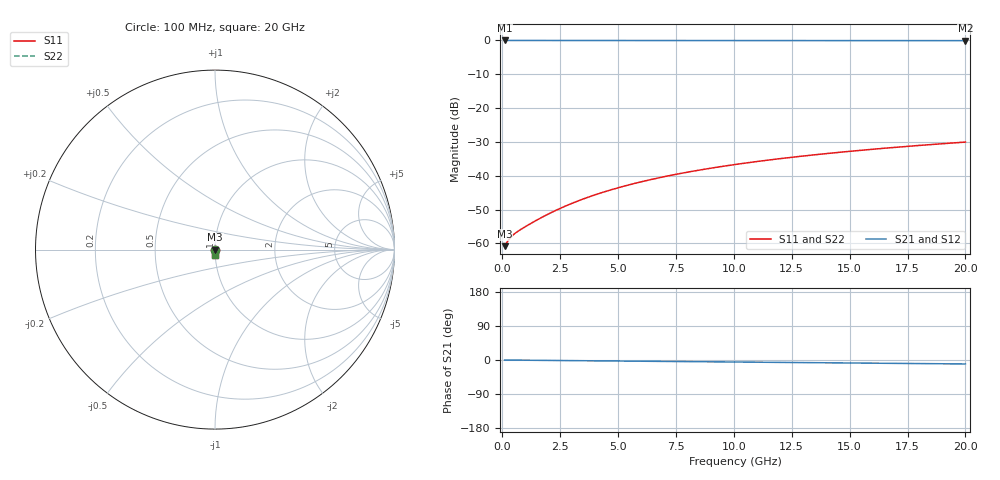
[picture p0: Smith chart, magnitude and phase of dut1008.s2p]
! Touchstone file exported from HFSS 2026.1.0
!  File:  C:/ffzhzh/LocalFiles/Ansys_Project_Files/temp_train_BSMRDL_1008_1783173213_22436.aedt
!  Generated:  09:54:44 PM Jul  4, 2026
!  Design:  BSMRDL
!  Project:  temp_train_BSMRDL_1008_1783173213_22436
! Variables:
!  h_bsmrdl = 4.35um
!  h_ox = 20um
!  h_rdl = 5um
!  h_sub = 80um
!  h_tmrdl = 5um
!  h_tsv = 80um
!  h_via = 3um
!  l_bsmrdl = 177.64um
!  l_sub = 577.64um
!  l_tmrdl = 200um
!  m_sub = 200um
!  pitch = 23.56um
!  r_tsv = 6um
!  s_tmrdl = 10um
!  w_bsmrdl = 20.8um
!  w_sub = 500um
!  w_tmrdl = 12um
!  x_tsv_center1 = 206um
!  x_tsv_center2 = 404.44um
!  x_tsv_center3 = 616.44um
!  x_tsv_center4 = 814.88um
!  x_tsv_center5 = 1026.88um
!  x_tsv_center6 = 1225.32um
# GHz S MA R 50.000000
! Terminal data exported
! Port[1] = BSM_RDL1_1_T1
! Port[2] = BSM_RDL1_1_T2
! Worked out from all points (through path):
!   200 points, 100 MHz to 20 GHz, reference 50 ohm
!   highest |S21| = -0.01 dB at 100 MHz (marker M1); lowest = -0.1 dB at 20 GHz (marker M2)
!   group delay of S21, straight-line fit = 1.44 ps
!   lowest |S11| = -60.8 dB at 100 MHz (marker M3), VSWR 1.00, Z = 50.1 + j0.00839 ohm
!   |S11| at or under -10 dB: start of sweep to end of sweep
!   |S22| runs from -60.8 to -30.1 dB; largest |S21 - S12| = 2.8e-15
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0.1  0.0009087 5.3  0.9991 -0.1  0.9991 -0.1  0.0009087 5.3
! Gamma 0 0 0 0
! Port Impedance 50 0 50 0
0.3  0.001157 2.4  0.9988 -0.2  0.9988 -0.2  0.001157 2.4
0.4  0.001267 -2.3  0.9987 -0.2  0.9987 -0.2  0.001267 -2.3
0.5  0.001362 -7.3  0.9986 -0.3  0.9986 -0.3  0.001362 -7.3
0.6  0.001447 -12.0  0.9986 -0.3  0.9986 -0.3  0.001447 -12.0
1  0.00177 -27.5  0.9984 -0.6  0.9984 -0.6  0.00177 -27.5
1.6  0.002316 -42.1  0.9983 -0.9  0.9983 -0.9  0.002316 -42.1
2.2  0.002948 -50.7  0.9981 -1.2  0.9981 -1.2  0.002948 -50.7
2.8  0.003649 -56.1  0.9979 -1.5  0.9979 -1.5  0.003649 -56.1
3.5  0.004537 -60.4  0.9976 -1.9  0.9976 -1.9  0.004537 -60.4
4.2  0.005485 -63.4  0.9973 -2.3  0.9973 -2.3  0.005485 -63.4
5  0.00663 -66.1  0.997 -2.7  0.997 -2.7  0.00663 -66.1
5.9  0.007977 -68.6  0.9966 -3.2  0.9966 -3.2  0.007977 -68.6
6.8  0.009373 -70.6  0.9963 -3.7  0.9963 -3.7  0.009373 -70.6
7.6  0.01064 -72.3  0.996 -4.1  0.996 -4.1  0.01064 -72.3
8.4  0.01193 -73.8  0.9957 -4.5  0.9957 -4.5  0.01193 -73.8
10.1  0.01472 -76.5  0.9951 -5.4  0.9951 -5.4  0.01472 -76.5
11.7  0.01738 -78.8  0.9946 -6.2  0.9946 -6.2  0.01738 -78.8
13.4  0.02024 -80.9  0.9942 -7.1  0.9942 -7.1  0.02024 -80.9
15  0.02294 -82.7  0.9937 -7.9  0.9937 -7.9  0.02294 -82.7
16.7  0.02582 -84.5  0.9933 -8.8  0.9933 -8.8  0.02582 -84.5
20  0.03143 -87.5  0.9924 -10.5  0.9924 -10.5  0.03143 -87.5
